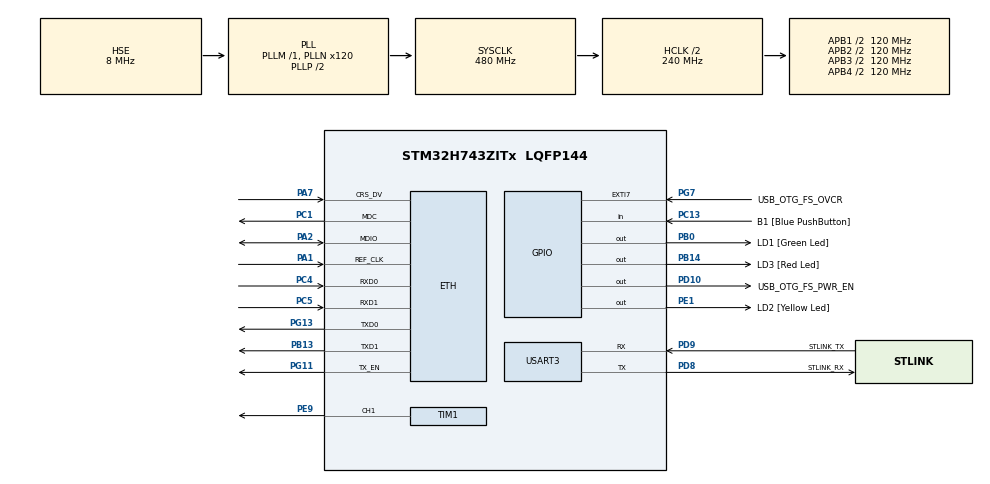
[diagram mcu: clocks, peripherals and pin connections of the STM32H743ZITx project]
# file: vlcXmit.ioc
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CORTEX_M7.AccessPermission_S-Cortex_Memory_Protection_Unit_Region1_Settings_S=MPU_REGION_FULL_ACCESS
CORTEX_M7.AccessPermission_S-Cortex_Memory_Protection_Unit_Region2_Settings_S=MPU_REGION_FULL_ACCESS
CORTEX_M7.AccessPermission_S-Cortex_Memory_Protection_Unit_Region3_Settings_S=MPU_REGION_FULL_ACCESS
CORTEX_M7.BaseAddress_S-Cortex_Memory_Protection_Unit_Region1_Settings_S=0x30020000
CORTEX_M7.BaseAddress_S-Cortex_Memory_Protection_Unit_Region2_Settings_S=0x30040000
CORTEX_M7.BaseAddress_S-Cortex_Memory_Protection_Unit_Region3_Settings_S=0x30000000
CORTEX_M7.CPU_DCache=Enabled
CORTEX_M7.CPU_ICache=Enabled
CORTEX_M7.DisableExec_S-Cortex_Memory_Protection_Unit_Region1_Settings_S=MPU_INSTRUCTION_ACCESS_DISABLE
CORTEX_M7.DisableExec_S-Cortex_Memory_Protection_Unit_Region2_Settings_S=MPU_INSTRUCTION_ACCESS_DISABLE
CORTEX_M7.DisableExec_S-Cortex_Memory_Protection_Unit_Region3_Settings_S=MPU_INSTRUCTION_ACCESS_DISABLE
CORTEX_M7.Enable_S-Cortex_Memory_Protection_Unit_Region1_Settings_S=MPU_REGION_ENABLE
CORTEX_M7.Enable_S-Cortex_Memory_Protection_Unit_Region2_Settings_S=MPU_REGION_ENABLE
CORTEX_M7.Enable_S-Cortex_Memory_Protection_Unit_Region3_Settings_S=MPU_REGION_ENABLE
CORTEX_M7.IsBufferable_S-Cortex_Memory_Protection_Unit_Region2_Settings_S=MPU_ACCESS_BUFFERABLE
CORTEX_M7.IsShareable_S-Cortex_Memory_Protection_Unit_Region2_Settings_S=MPU_ACCESS_SHAREABLE
CORTEX_M7.Size_S-Cortex_Memory_Protection_Unit_Region1_Settings_S=MPU_REGION_SIZE_128KB
CORTEX_M7.Size_S-Cortex_Memory_Protection_Unit_Region2_Settings_S=MPU_REGION_SIZE_512B
CORTEX_M7.Size_S-Cortex_Memory_Protection_Unit_Region3_Settings_S=MPU_REGION_SIZE_128KB
CORTEX_M7.TypeExtField_S-Cortex_Memory_Protection_Unit_Region1_Settings_S=MPU_TEX_LEVEL1
CORTEX_M7.TypeExtField_S-Cortex_Memory_Protection_Unit_Region3_Settings_S=MPU_TEX_LEVEL1
CORTEX_M7.default_mode_Activation=1
Dma.Request0=TIM1_UP
Dma.TIM1_UP.0.Direction=DMA_MEMORY_TO_PERIPH
Dma.TIM1_UP.0.EventEnable=DISABLE
Dma.TIM1_UP.0.FIFOMode=DMA_FIFOMODE_ENABLE
Dma.TIM1_UP.0.FIFOThreshold=DMA_FIFO_THRESHOLD_FULL
Dma.TIM1_UP.0.Instance=DMA1_Stream0
Dma.TIM1_UP.0.MemBurst=DMA_MBURST_SINGLE
Dma.TIM1_UP.0.MemDataAlignment=DMA_MDATAALIGN_HALFWORD
Dma.TIM1_UP.0.MemInc=DMA_MINC_ENABLE
Dma.TIM1_UP.0.Mode=DMA_NORMAL
Dma.TIM1_UP.0.PeriphBurst=DMA_PBURST_SINGLE
Dma.TIM1_UP.0.PeriphDataAlignment=DMA_PDATAALIGN_HALFWORD
Dma.TIM1_UP.0.PeriphInc=DMA_PINC_DISABLE
Dma.TIM1_UP.0.Polarity=HAL_DMAMUX_REQ_GEN_RISING
Dma.TIM1_UP.0.Priority=DMA_PRIORITY_LOW
Dma.TIM1_UP.0.RequestNumber=1
Dma.TIM1_UP.0.SignalID=NONE
Dma.TIM1_UP.0.SyncEnable=DISABLE
Dma.TIM1_UP.0.SyncPolarity=HAL_DMAMUX_SYNC_NO_EVENT
Dma.TIM1_UP.0.SyncRequestNumber=1
Dma.TIM1_UP.0.SyncSignalID=NONE
ETH.ETH_RX_DESC_CNT=4
ETH.ETH_TX_DESC_CNT=4
ETH.MediaInterface=HAL_ETH_RMII_MODE
ETH.RxBuffLen=1536
ETH.RxDescAddress=0x30040000
ETH.TxDescAddress=0x30040100
FREERTOS.BinarySemaphores01=getNextFlit,Dynamic,NULL
FREERTOS.Queues01=newFlitQ,2,8,1,Dynamic,NULL,NULL
FREERTOS.Tasks01=defaultTask,24,512,StartDefaultTask,As weak,NULL,Dynamic,NULL,NULL;vlcXmit_tsk,40,512,vlcXmit,As external,NULL,Dynamic,NULL,NULL
FREERTOS.configCHECK_FOR_STACK_OVERFLOW=1
FREERTOS.configMINIMAL_STACK_SIZE=512
FREERTOS.configTOTAL_HEAP_SIZE=65536
FREERTOS.configUSE_NEWLIB_REENTRANT=1
IWDG1.Prescaler=IWDG_PRESCALER_16
IWDG1.Reload=0x7d0
LWIP.BSP.number=1
LWIP.DEFAULT_THREAD_STACKSIZE=2048
LWIP.LWIP_AUTOIP=0
LWIP.LWIP_DHCP_AUTOIP_COOP=0
LWIP.LWIP_NETIF_STATUS_CALLBACK=0
LWIP.LWIP_RAM_HEAP_POINTER=0x30020000
LWIP.MEM_SIZE=131048
LWIP.TCPIP_THREAD_STACKSIZE=2048
LWIP.TCP_MSS=1460
LWIP.TCP_SND_BUF=5840
LWIP.TCP_SND_QUEUELEN=16
LWIP.Version=v2.1.2_Cube
LWIP0.BSP.STBoard=false
LWIP0.BSP.api=BSP_COMPONENT_DRIVER
LWIP0.BSP.component=LAN8742
LWIP0.BSP.instance=LAN8742
LWIP0.BSP.name=Driver_PHY
LWIP0.BSP.semaphore=S_LAN8742
LWIP0.BSP.solution=LAN8742
Mcu.Family=STM32H7
Mcu.Name=STM32H743ZITx
Mcu.Package=LQFP144
NVIC.DMA1_Stream0_IRQn=true\:5\:0\:false\:false\:true\:true\:false\:true\:true
NVIC.ETH_IRQn=true\:5\:0\:false\:false\:true\:true\:true\:true\:true
NVIC.PriorityGroup=NVIC_PRIORITYGROUP_4
NVIC.TIM6_DAC_IRQn=true\:15\:0\:false\:false\:true\:false\:false\:true\:true
NVIC.TimeBase=TIM6_DAC_IRQn
NVIC.TimeBaseIP=TIM6
PA1.GPIO_Speed=GPIO_SPEED_FREQ_VERY_HIGH
PA1.Mode=RMII
PA1.Signal=ETH_REF_CLK
PA11.Signal=USB_OTG_FS_DM
PA12.Signal=USB_OTG_FS_DP
PA13\ (JTMS/SWDIO).GPIO_Label=JTMS
PA13\ (JTMS/SWDIO).Signal=DEBUG_JTMS-SWDIO
PA14\ (JTCK/SWCLK).GPIO_Label=JTCK
PA14\ (JTCK/SWCLK).Signal=DEBUG_JTCK-SWCLK
PA2.GPIO_Speed=GPIO_SPEED_FREQ_VERY_HIGH
PA2.Mode=RMII
PA2.Signal=ETH_MDIO
PA7.GPIO_Speed=GPIO_SPEED_FREQ_VERY_HIGH
PA7.Mode=RMII
PA7.Signal=ETH_CRS_DV
PA8.Signal=USB_OTG_FS_SOF
PA9.Signal=USB_OTG_FS_VBUS
PB0.GPIO_Label=LD1 [Green Led]
PB0.Signal=GPIO_Output
PB13.GPIO_Speed=GPIO_SPEED_FREQ_VERY_HIGH
PB13.Mode=RMII
PB13.Signal=ETH_TXD1
PB14.GPIO_Label=LD3 [Red Led]
PB14.Signal=GPIO_Output
PC1.GPIO_Speed=GPIO_SPEED_FREQ_VERY_HIGH
PC1.Mode=RMII
PC1.Signal=ETH_MDC
PC13.GPIO_Label=B1 [Blue PushButton]
PC13.Signal=GPIO_Input
PC14-OSC32_IN\ (OSC32_IN).Signal=RCC_OSC32_IN
PC15-OSC32_OUT\ (OSC32_OUT).Signal=RCC_OSC32_OUT
PC4.GPIO_Speed=GPIO_SPEED_FREQ_VERY_HIGH
PC4.Mode=RMII
PC4.Signal=ETH_RXD0
PC5.GPIO_Speed=GPIO_SPEED_FREQ_VERY_HIGH
PC5.Mode=RMII
PC5.Signal=ETH_RXD1
PD10.GPIO_Label=USB_OTG_FS_PWR_EN
PD10.Signal=GPIO_Output
PD8.GPIO_Label=STLINK_RX
PD8.Mode=Asynchronous
PD8.Signal=USART3_TX
PD9.GPIO_Label=STLINK_TX
PD9.Mode=Asynchronous
PD9.Signal=USART3_RX
PE1.GPIO_Label=LD2 [Yellow Led]
PE1.Signal=GPIO_Output
PE9.Signal=S_TIM1_CH1
PG11.GPIO_Speed=GPIO_SPEED_FREQ_VERY_HIGH
PG11.Mode=RMII
PG11.Signal=ETH_TX_EN
PG13.GPIO_Speed=GPIO_SPEED_FREQ_VERY_HIGH
PG13.Mode=RMII
PG13.Signal=ETH_TXD0
PG7.GPIO_Label=USB_OTG_FS_OVCR
PG7.Signal=GPXTI7
PH0-OSC_IN\ (PH0).Mode=HSE-External-Clock-Source
PH0-OSC_IN\ (PH0).Signal=RCC_OSC_IN
PH1-OSC_OUT\ (PH1).Signal=RCC_OSC_OUT
ProjectManager.HeapSize=0x200
ProjectManager.StackSize=0x400
ProjectManager.TargetToolchain=CMake
RCC.ADCFreq_Value=16125000
RCC.APB1Freq_Value=120000000
RCC.APB2Freq_Value=120000000
RCC.APB3Freq_Value=120000000
RCC.APB4Freq_Value=120000000
RCC.CortexFreq_Value=480000000
RCC.D1PPRE=RCC_APB3_DIV2
RCC.D2PPRE1=RCC_APB1_DIV2
RCC.D2PPRE2=RCC_APB2_DIV2
RCC.D3PPRE=RCC_APB4_DIV2
RCC.DIVM1=1
RCC.DIVN1=120
RCC.HCLKFreq_Value=240000000
RCC.HPRE=RCC_HCLK_DIV2
RCC.HSE_VALUE=8000000
RCC.PLLFRACN=0
RCC.PLLSourceVirtual=RCC_PLLSOURCE_HSE
RCC.PWR_Regulator_Voltage_Scale=PWR_REGULATOR_VOLTAGE_SCALE0
RCC.ProductRev=revV
RCC.SYSCLKFreq_VALUE=480000000
RCC.SYSCLKSource=RCC_SYSCLKSOURCE_PLLCLK
RCC.USBFreq_Value=480000000
SH.S_TIM1_CH1.0=TIM1_CH1,PWM Generation1 CH1
TIM1.AutoReloadPreload=TIM_AUTORELOAD_PRELOAD_ENABLE
TIM1.Channel-PWM\ Generation1\ CH1=TIM_CHANNEL_1
TIM1.Period=0xffff
TIM1.Prescaler=23
USART3.VirtualMode-Asynchronous=VM_ASYNC
VP_FREERTOS_VS_CMSIS_V2.Mode=CMSIS_V2
VP_IWDG1_VS_IWDG.Mode=IWDG_Activate
VP_LWIP_VS_Enabled.Mode=Enabled
VP_SYS_VS_tim6.Mode=TIM6
VP_TIM1_VS_ClockSourceINT.Mode=Internal
board=NUCLEO-H743ZI2

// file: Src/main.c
/* USER CODE BEGIN Header */
/*
 Demo code for the VIOLIN VLC project with a photodiode receiver.
 This code is for the transmitter side of the VLC link.

 Copyright (c) 2024 Aristides Efthymiou (efthym@uoi.gr) VLSI Systems and Compute
r Architecture Laboratory (VCAS), Dep. of Computer Science and Engineering, Univ
ersity of Ioannina, Greece

 Permission is hereby granted, free of charge, to any person obtaining a copy of
 this software and associated documentation files (the "Software"), to deal in t
he Software without restriction, including without limitation the rights to use,
 copy, modify, merge, publish, distribute, sublicense, and/or sell copies of the
 Software, and to permit persons to whom the Software is furnished to do so, sub
ject to the following conditions:

 The above copyright notice and this permission notice shall be included in all
copies or substantial portions of the Software.

 THE SOFTWARE IS PROVIDED "AS IS", WITHOUT WARRANTY OF ANY KIND, EXPRESS OR IMPL
IED, INCLUDING BUT NOT LIMITED TO THE WARRANTIES OF MERCHANTABILITY, FITNESS FOR
 A PARTICULAR PURPOSE AND NONINFRINGEMENT. IN NO EVENT SHALL THE AUTHORS OR COPY
RIGHT HOLDERS BE LIABLE FOR ANY CLAIM, DAMAGES OR OTHER LIABILITY, WHETHER IN AN
 ACTION OF CONTRACT, TORT OR OTHERWISE, ARISING FROM, OUT OF OR IN CONNECTION WI
TH THE SOFTWARE OR THE USE OR OTHER DEALINGS IN THE SOFTWARE.

*/
/**
  ******************************************************************************
  * @file           : main.c
  * @brief          : Main program body
  ******************************************************************************
  * @attention
  *
  * Copyright (c) 2024 STMicroelectronics.
  * All rights reserved.
  *
  ******************************************************************************
  */
/* USER CODE END Header */
#include "main.h"
#include "cmsis_os.h"

IWDG_HandleTypeDef hiwdg1;

TIM_HandleTypeDef htim1;
DMA_HandleTypeDef hdma_tim1_up;

UART_HandleTypeDef huart3;

/* Definitions for defaultTask */
osThreadId_t defaultTaskHandle;
const osThreadAttr_t defaultTask_attributes = {
  .name = "defaultTask",
  .stack_size = 512 * 4,
  .priority = (osPriority_t) osPriorityNormal,
};
/* Definitions for vlcXmit_tsk */
osThreadId_t vlcXmit_tskHandle;
const osThreadAttr_t vlcXmit_tsk_attributes = {
  .name = "vlcXmit_tsk",
  .stack_size = 512 * 4,
  .priority = (osPriority_t) osPriorityHigh,
};
/* Definitions for newFlitQ */
osMessageQueueId_t newFlitQHandle;
const osMessageQueueAttr_t newFlitQ_attributes = {
  .name = "newFlitQ"
};
/* Definitions for getNextFlit */
osSemaphoreId_t getNextFlitHandle;
const osSemaphoreAttr_t getNextFlit_attributes = {
  .name = "getNextFlit"
};
/* USER CODE BEGIN PV */

// Timer data for VLC signal generation.
// Double buffering: transmiting on one while modulating the incoming date into the other
__IO uint16_t  timWaves0[MAX_PULSES] __attribute__((section(".WavesSection0")));
__IO uint16_t  timWaves1[MAX_PULSES] __attribute__((section(".WavesSection1")));

volatile uint16_t *timBufferPtr[2];  // pointers to the wave(form) buffers

// Buffers for the "duplicate" mark in the waveforms
uint16_t altTimWaves0[6];
uint16_t altTimWaves1[6];
uint16_t *altTimBufferPtr[2];  // pointers to the alt wave(form) buffers

uint16_t *size2TimBuffPtr[2];  // points to the pulse in timBuffer where we sneak in the above pulses

// TDP waves as multiples of halfPeriod
const uint16_t tdp_periods[9] = {3, 5, 3, 3, 2, 3, 6, 2, 3};
const uint16_t tdp_pulses[9]  = {1, 1, 2, 1, 1, 2, 4, 1, 2};

const uint16_t dutyCycleReduction = 0;  // reduces the high pulse by this amount

// APB2 is where TIM1 lives. It is run at 240MHz currently
/* --------------------------------------------------------
   TIM1 is 16bit, so max number in any counter is 65536.
   halfPeriod is the base variable and the ARR counter can get up to 4*halfPeriod,
   so the maximum value halfPeriod can get is 16383, minimum is obviously 1.
   If halfPeriod of 1 corresponds to a 10MHz (manchester encodec) signal, the max value should give us ~610.4Hz
   So if I set the prescaler to 23 (+1 is the actual value), I should get 10MHz with halfPeriod (CCR) = 1 and ARR = 2
   Note: tim1.Init.ClockDivision is not related to the timer's clock.
   -------------------------------------------------------- */
// With max prescaler (0xffff) the clock is at ~3968 Hz , so with a min pulse of 1984, I should have around 1Hz for back2back short pulses and 0.5Hz for long ones.
// Counter value for minimum pulse (Manchester short pulse = halfPeriod)
// These were with prescaler 23 (+1) -- i.e. 10MHz at the counter
// WARNING:  Lowest value used in counters is halfPeriod / 5, so this is a limit!  This is for 10% (or 90%) dimming.
const uint16_t halfPeriod = 5;
//uint16_t halfPeriod = 10;   // this is 1uS
//uint16_t halfPeriod = 100;   // this is 10uS measure on scope, gives 130 (sometimes 132) samples per symbol at the receiver's ADC
//uint16_t halfPeriod = 104;   // This gives 136 samples per symbol.
//uint16_t halfPeriod = 106;   // This gives 138 samples per symbol.
//uint16_t halfPeriod = 107;   // This gives 140 samples per symbol.
//uint16_t halfPeriod = 99;   // This gives 128 or 130 samples per symbol.
//uint16_t halfPeriod = 101;   // This gives 132 samples per symbol.
//uint16_t halfPeriod = 1200;   // slowdown for human eye - testing

uint16_t macDim = 500;  // dimming factor 0-1000. Fixed here. Normaly set by VLC MAC layer

extern const int uxTopUsedPriority; // for OpenOCD's threads awareness
/* USER CODE END PV */

void SystemClock_Config(void);
static void MPU_Config(void);
static void MX_GPIO_Init(void);
static void MX_DMA_Init(void);
static void MX_USART3_UART_Init(void);
static void MX_TIM1_Init(void);
static void MX_IWDG1_Init(void);
void StartDefaultTask(void *argument);
extern void vlcXmit(void *argument);

/* USER CODE BEGIN PFP */
extern void createModTable(uint16_t macDim, uint16_t halfPeriod);

/* USER CODE END PFP */

int main(void)
{

  /* MPU Configuration--------------------------------------------------------*/
  MPU_Config();
/* Enable the CPU Cache */

  /* Enable I-Cache---------------------------------------------------------*/
  SCB_EnableICache();

  /* Enable D-Cache---------------------------------------------------------*/
  SCB_EnableDCache();

  /* MCU Configuration--------------------------------------------------------*/

  /* Reset of all peripherals, Initializes the Flash interface and the Systick. */
  HAL_Init();

  /* Configure the system clock */
  SystemClock_Config();

  /* Initialize all configured peripherals */
  MX_GPIO_Init();
  MX_DMA_Init();
  MX_USART3_UART_Init();
  MX_TIM1_Init();
  /* USER CODE BEGIN 2 */

  // Initialize the pointers for the waveform (timer output pwm data)
  timBufferPtr[0] = &timWaves0[0];
  timBufferPtr[1] = &timWaves1[0];
  altTimBufferPtr[0] = &altTimWaves0[0];
  altTimBufferPtr[1] = &altTimWaves1[0];

  // Generate the preample for the packets
  // including  the TDP bits (broadcast ) 0x21A5. CAUTION: 15 bits x 4 (=60)
  for (uint8_t curRcvBuf = 0; curRcvBuf < 2; curRcvBuf++) {  // For each of the two waves buffers
    uint16_t *timBuffer = timBufferPtr[curRcvBuf];

    *timBuffer++ = 2*halfPeriod - 1;  // Added to fix duty cycle. Not tested for non 50% duty cycle
    *timBuffer++ = 31; // This causes 32 waves. More than the minimum the receiver expects
                       // because the first pulse is usually chewed up by the amplifier
    *timBuffer++ = halfPeriod - dutyCycleReduction;
    // Add the TDP, ~TDP waves
    for (uint8_t i = 0; i < 9; i++) {
      *timBuffer++ = tdp_periods[i] * halfPeriod - 1;  // period
      *timBuffer++ = 0; // No repetition
      *timBuffer++ = tdp_pulses[i] * (halfPeriod - dutyCycleReduction);   // high pulse duration
    }
  }

  // (one off) Create the modulation lookup table
  createModTable(macDim, halfPeriod);

  /* USER CODE END 2 */

  /* Init scheduler */
  osKernelInitialize();

  /* Create the semaphores(s) */
  /* creation of getNextFlit */
  getNextFlitHandle = osSemaphoreNew(1, 0, &getNextFlit_attributes);

  /* Create the queue(s) */
  /* creation of newFlitQ */
  newFlitQHandle = osMessageQueueNew (2, sizeof(FlitInfo_t), &newFlitQ_attributes);

  /* USER CODE BEGIN RTOS_QUEUES */
  // --------------------------------------------------------------------------------
  // AE: if you regenerate the code, do not forget to modify the following line
  // newFlitQHandle = osMessageQueueNew (2, sizeof(FlitInfo_t), &newFlitQ_attributes);
  // --------------------------------------------------------------------------------
  /* add queues, ... */
  /* USER CODE END RTOS_QUEUES */

  /* Create the thread(s) */
  /* creation of defaultTask */
  defaultTaskHandle = osThreadNew(StartDefaultTask, NULL, &defaultTask_attributes);

  /* creation of vlcXmit_tsk */
  vlcXmit_tskHandle = osThreadNew(vlcXmit, NULL, &vlcXmit_tsk_attributes);

  /* Start scheduler */
  osKernelStart();

  /* We should never get here as control is now taken by the scheduler */
  /* Infinite loop */
  /* USER CODE BEGIN WHILE */
  int i = 0;  // dummy to keep uxTopUsedPriority alive
  while (1) {
    i += uxTopUsedPriority;
    if (i > 100)
      osDelay(1);
    /* USER CODE END WHILE */

  }
}

void SystemClock_Config(void)
{
  RCC_OscInitTypeDef RCC_OscInitStruct = {0};
  RCC_ClkInitTypeDef RCC_ClkInitStruct = {0};

  /** Supply configuration update enable
  */
  HAL_PWREx_ConfigSupply(PWR_LDO_SUPPLY);

  /** Configure the main internal regulator output voltage
  */
  __HAL_PWR_VOLTAGESCALING_CONFIG(PWR_REGULATOR_VOLTAGE_SCALE1);

  while(!__HAL_PWR_GET_FLAG(PWR_FLAG_VOSRDY)) {}

  __HAL_RCC_SYSCFG_CLK_ENABLE();
  __HAL_PWR_VOLTAGESCALING_CONFIG(PWR_REGULATOR_VOLTAGE_SCALE0);

  while(!__HAL_PWR_GET_FLAG(PWR_FLAG_VOSRDY)) {}

  /** Initializes the RCC Oscillators according to the specified parameters
  * in the RCC_OscInitTypeDef structure.
  */
  RCC_OscInitStruct.OscillatorType = RCC_OSCILLATORTYPE_LSI|RCC_OSCILLATORTYPE_HSE;
  RCC_OscInitStruct.HSEState = RCC_HSE_BYPASS;
  RCC_OscInitStruct.LSIState = RCC_LSI_ON;
  RCC_OscInitStruct.PLL.PLLState = RCC_PLL_ON;
  RCC_OscInitStruct.PLL.PLLSource = RCC_PLLSOURCE_HSE;
  RCC_OscInitStruct.PLL.PLLM = 1;
  RCC_OscInitStruct.PLL.PLLN = 120;
  RCC_OscInitStruct.PLL.PLLP = 2;
  RCC_OscInitStruct.PLL.PLLQ = 2;
  RCC_OscInitStruct.PLL.PLLR = 2;
  RCC_OscInitStruct.PLL.PLLRGE = RCC_PLL1VCIRANGE_3;
  RCC_OscInitStruct.PLL.PLLVCOSEL = RCC_PLL1VCOWIDE;
  RCC_OscInitStruct.PLL.PLLFRACN = 0;
  if (HAL_RCC_OscConfig(&RCC_OscInitStruct) != HAL_OK)
  {
    Error_Handler();
  }

  /** Initializes the CPU, AHB and APB buses clocks
  */
  RCC_ClkInitStruct.ClockType = RCC_CLOCKTYPE_HCLK|RCC_CLOCKTYPE_SYSCLK
                              |RCC_CLOCKTYPE_PCLK1|RCC_CLOCKTYPE_PCLK2
                              |RCC_CLOCKTYPE_D3PCLK1|RCC_CLOCKTYPE_D1PCLK1;
  RCC_ClkInitStruct.SYSCLKSource = RCC_SYSCLKSOURCE_PLLCLK;
  RCC_ClkInitStruct.SYSCLKDivider = RCC_SYSCLK_DIV1;
  RCC_ClkInitStruct.AHBCLKDivider = RCC_HCLK_DIV2;
  RCC_ClkInitStruct.APB3CLKDivider = RCC_APB3_DIV2;
  RCC_ClkInitStruct.APB1CLKDivider = RCC_APB1_DIV2;
  RCC_ClkInitStruct.APB2CLKDivider = RCC_APB2_DIV2;
  RCC_ClkInitStruct.APB4CLKDivider = RCC_APB4_DIV2;

  if (HAL_RCC_ClockConfig(&RCC_ClkInitStruct, FLASH_LATENCY_4) != HAL_OK)
  {
    Error_Handler();
  }
}

static void MX_IWDG1_Init(void)
{

  hiwdg1.Instance = IWDG1;
  hiwdg1.Init.Prescaler = IWDG_PRESCALER_16;
  hiwdg1.Init.Window = 4095;
  hiwdg1.Init.Reload = 0x7d0;
  if (HAL_IWDG_Init(&hiwdg1) != HAL_OK)
  {
    Error_Handler();
  }

}

static void MX_TIM1_Init(void)
{

  TIM_ClockConfigTypeDef sClockSourceConfig = {0};
  TIM_MasterConfigTypeDef sMasterConfig = {0};
  TIM_OC_InitTypeDef sConfigOC = {0};
  TIM_BreakDeadTimeConfigTypeDef sBreakDeadTimeConfig = {0};

  /* USER CODE BEGIN TIM1_Init 1 */
  // At max speed this timer works at 240MHz.
  // A +1 is added to the Prescaler value below and divides this clock
  //  to a frequency 240 / (Prescaler+1)
  // I use a halfPeriod "main" variable for the half of the "optical" clock rate at 50% duty cycle
  //   (so I keep it a multiple of 5, so I can get down to 10% duty cycle resolution).
  // The counter starts at 0 and goes up to 2*halfPeriod, ***inclusive***
  // Thus the minimum period is 240 / (Prescaler+1) / (2*halfPeriod + 1)

  //htim1.Init.Prescaler = 2; // The counts freqency is 240/3=80 MHz
  // With halfPeriod = 5, the signal is at 80/11 = 7.27MHz (137ns period)
  //  Direct nucleo connection works but I suspect synchronization problems above 208 bytes ....

  //htim1.Init.Prescaler = 3; // The counts freqency is 240/4=60 MHz
  //htim1.Init.Prescaler = 4; // The counts freqency is 240/5=48 MHz
  //htim1.Init.Prescaler = 5;  // 240/6 = 40  MHz
  //htim1.Init.Prescaler = 6;  // 240/7 = 34.2  MHz
  //htim1.Init.Prescaler = 8;
  htim1.Init.Prescaler = 9; // The counts freqency is 240/10=24 MHz

  //htim1.Init.Prescaler = 11;  // This gives a 20MHz counter clock cycle
  // With halfPeriod = 5, the signal is at 20/11 = 1.8MHz (550ns period)
  //  Direct nucle connection works up to 1248 byte filts, set by the "waveform" memory limit (64KiB)

  //htim1.Init.Prescaler = 23;  // This gives a 10MHz counter clock cycle 240MHz / (23+1)
                              // with halfPeriod = 5, and 50% duty cycle, the long pulse is 1us and the short 0.5us
                              //  these correspond to 240 in the receiver counter, 120 resp.
  //htim1.Init.Prescaler = 29;  // This gives a 800KHz
  //htim1.Init.Prescaler = 49;   // 480KHz
  //htim1.Init.Prescaler = 99;   // 240KHz
  //htim1.Init.Prescaler = 239;
  //htim1.Init.Prescaler = 0xFFFF;  // Slow version for my eyes ....
  /* USER CODE END TIM1_Init 1 */
  htim1.Instance = TIM1;
  htim1.Init.Prescaler = 9;
  htim1.Init.CounterMode = TIM_COUNTERMODE_UP;
  htim1.Init.Period = 0xffff;
  htim1.Init.ClockDivision = TIM_CLOCKDIVISION_DIV1;
  htim1.Init.RepetitionCounter = 0;
  htim1.Init.AutoReloadPreload = TIM_AUTORELOAD_PRELOAD_ENABLE;
  if (HAL_TIM_Base_Init(&htim1) != HAL_OK)
  {
    Error_Handler();
  }
  sClockSourceConfig.ClockSource = TIM_CLOCKSOURCE_INTERNAL;
  if (HAL_TIM_ConfigClockSource(&htim1, &sClockSourceConfig) != HAL_OK)
  {
    Error_Handler();
  }
  if (HAL_TIM_PWM_Init(&htim1) != HAL_OK)
  {
    Error_Handler();
  }
  sMasterConfig.MasterOutputTrigger = TIM_TRGO_RESET;
  sMasterConfig.MasterOutputTrigger2 = TIM_TRGO2_RESET;
  sMasterConfig.MasterSlaveMode = TIM_MASTERSLAVEMODE_DISABLE;
  if (HAL_TIMEx_MasterConfigSynchronization(&htim1, &sMasterConfig) != HAL_OK)
  {
    Error_Handler();
  }
  sConfigOC.OCMode = TIM_OCMODE_PWM1;
  sConfigOC.Pulse = 0;
  sConfigOC.OCPolarity = TIM_OCPOLARITY_HIGH;
  sConfigOC.OCNPolarity = TIM_OCNPOLARITY_HIGH;
  sConfigOC.OCFastMode = TIM_OCFAST_DISABLE;
  sConfigOC.OCIdleState = TIM_OCIDLESTATE_RESET;
  sConfigOC.OCNIdleState = TIM_OCNIDLESTATE_RESET;
  if (HAL_TIM_PWM_ConfigChannel(&htim1, &sConfigOC, TIM_CHANNEL_1) != HAL_OK)
  {
    Error_Handler();
  }
  sBreakDeadTimeConfig.OffStateRunMode = TIM_OSSR_DISABLE;
  sBreakDeadTimeConfig.OffStateIDLEMode = TIM_OSSI_DISABLE;
  sBreakDeadTimeConfig.LockLevel = TIM_LOCKLEVEL_OFF;
  sBreakDeadTimeConfig.DeadTime = 0;
  sBreakDeadTimeConfig.BreakState = TIM_BREAK_DISABLE;
  sBreakDeadTimeConfig.BreakPolarity = TIM_BREAKPOLARITY_HIGH;
  sBreakDeadTimeConfig.BreakFilter = 0;
  sBreakDeadTimeConfig.Break2State = TIM_BREAK2_DISABLE;
  sBreakDeadTimeConfig.Break2Polarity = TIM_BREAK2POLARITY_HIGH;
  sBreakDeadTimeConfig.Break2Filter = 0;
  sBreakDeadTimeConfig.AutomaticOutput = TIM_AUTOMATICOUTPUT_DISABLE;
  if (HAL_TIMEx_ConfigBreakDeadTime(&htim1, &sBreakDeadTimeConfig) != HAL_OK)
  {
    Error_Handler();
  }
  HAL_TIM_MspPostInit(&htim1);

}

static void MX_USART3_UART_Init(void)
{

  huart3.Instance = USART3;
  huart3.Init.BaudRate = 115200;
  huart3.Init.WordLength = UART_WORDLENGTH_8B;
  huart3.Init.StopBits = UART_STOPBITS_1;
  huart3.Init.Parity = UART_PARITY_NONE;
  huart3.Init.Mode = UART_MODE_TX_RX;
  huart3.Init.HwFlowCtl = UART_HWCONTROL_NONE;
  huart3.Init.OverSampling = UART_OVERSAMPLING_16;
  huart3.Init.OneBitSampling = UART_ONE_BIT_SAMPLE_DISABLE;
  huart3.Init.ClockPrescaler = UART_PRESCALER_DIV1;
  huart3.AdvancedInit.AdvFeatureInit = UART_ADVFEATURE_NO_INIT;
  if (HAL_UART_Init(&huart3) != HAL_OK)
  {
    Error_Handler();
  }
  if (HAL_UARTEx_SetTxFifoThreshold(&huart3, UART_TXFIFO_THRESHOLD_1_8) != HAL_OK)
  {
    Error_Handler();
  }
  if (HAL_UARTEx_SetRxFifoThreshold(&huart3, UART_RXFIFO_THRESHOLD_1_8) != HAL_OK)
  {
    Error_Handler();
  }
  if (HAL_UARTEx_DisableFifoMode(&huart3) != HAL_OK)
  {
    Error_Handler();
  }

}

static void MX_DMA_Init(void)
{

  /* DMA controller clock enable */
  __HAL_RCC_DMA1_CLK_ENABLE();

  /* DMA interrupt init */
  /* DMA1_Stream0_IRQn interrupt configuration */
  HAL_NVIC_SetPriority(DMA1_Stream0_IRQn, 5, 0);
  HAL_NVIC_EnableIRQ(DMA1_Stream0_IRQn);

}

static void MX_GPIO_Init(void)
{
  GPIO_InitTypeDef GPIO_InitStruct = {0};

  /* GPIO Ports Clock Enable */
  __HAL_RCC_GPIOC_CLK_ENABLE();
  __HAL_RCC_GPIOH_CLK_ENABLE();
  __HAL_RCC_GPIOA_CLK_ENABLE();
  __HAL_RCC_GPIOB_CLK_ENABLE();
  __HAL_RCC_GPIOE_CLK_ENABLE();
  __HAL_RCC_GPIOD_CLK_ENABLE();
  __HAL_RCC_GPIOG_CLK_ENABLE();

  /*Configure GPIO pin Output Level */
  HAL_GPIO_WritePin(GPIOB, LD1_Pin|LD3_Pin, GPIO_PIN_RESET);

  /*Configure GPIO pin Output Level */
  HAL_GPIO_WritePin(USB_OTG_FS_PWR_EN_GPIO_Port, USB_OTG_FS_PWR_EN_Pin, GPIO_PIN_RESET);

  /*Configure GPIO pin Output Level */
  HAL_GPIO_WritePin(LD2_GPIO_Port, LD2_Pin, GPIO_PIN_RESET);

  /*Configure GPIO pin : B1_Pin */
  GPIO_InitStruct.Pin = B1_Pin;
  GPIO_InitStruct.Mode = GPIO_MODE_INPUT;
  GPIO_InitStruct.Pull = GPIO_NOPULL;
  HAL_GPIO_Init(B1_GPIO_Port, &GPIO_InitStruct);

  /*Configure GPIO pins : LD1_Pin LD3_Pin */
  GPIO_InitStruct.Pin = LD1_Pin|LD3_Pin;
  GPIO_InitStruct.Mode = GPIO_MODE_OUTPUT_PP;
  GPIO_InitStruct.Pull = GPIO_NOPULL;
  GPIO_InitStruct.Speed = GPIO_SPEED_FREQ_LOW;
  HAL_GPIO_Init(GPIOB, &GPIO_InitStruct);

  /*Configure GPIO pin : USB_OTG_FS_PWR_EN_Pin */
  GPIO_InitStruct.Pin = USB_OTG_FS_PWR_EN_Pin;
  GPIO_InitStruct.Mode = GPIO_MODE_OUTPUT_PP;
  GPIO_InitStruct.Pull = GPIO_NOPULL;
  GPIO_InitStruct.Speed = GPIO_SPEED_FREQ_LOW;
  HAL_GPIO_Init(USB_OTG_FS_PWR_EN_GPIO_Port, &GPIO_InitStruct);

  /*Configure GPIO pin : USB_OTG_FS_OVCR_Pin */
  GPIO_InitStruct.Pin = USB_OTG_FS_OVCR_Pin;
  GPIO_InitStruct.Mode = GPIO_MODE_IT_RISING;
  GPIO_InitStruct.Pull = GPIO_NOPULL;
  HAL_GPIO_Init(USB_OTG_FS_OVCR_GPIO_Port, &GPIO_InitStruct);

  /*Configure GPIO pins : PA8 PA11 PA12 */
  GPIO_InitStruct.Pin = GPIO_PIN_8|GPIO_PIN_11|GPIO_PIN_12;
  GPIO_InitStruct.Mode = GPIO_MODE_AF_PP;
  GPIO_InitStruct.Pull = GPIO_NOPULL;
  GPIO_InitStruct.Speed = GPIO_SPEED_FREQ_LOW;
  GPIO_InitStruct.Alternate = GPIO_AF10_OTG1_FS;
  HAL_GPIO_Init(GPIOA, &GPIO_InitStruct);

  /*Configure GPIO pin : LD2_Pin */
  GPIO_InitStruct.Pin = LD2_Pin;
  GPIO_InitStruct.Mode = GPIO_MODE_OUTPUT_PP;
  GPIO_InitStruct.Pull = GPIO_NOPULL;
  GPIO_InitStruct.Speed = GPIO_SPEED_FREQ_LOW;
  HAL_GPIO_Init(LD2_GPIO_Port, &GPIO_InitStruct);

}

__weak void StartDefaultTask(void *argument)
{
  /* init code for LWIP */
  MX_LWIP_Init();
  /* USER CODE BEGIN 5 */
  for (;;)
    osDelay(1000);

  /* USER CODE END 5 */
}

/* MPU Configuration */

void MPU_Config(void)
{
  MPU_Region_InitTypeDef MPU_InitStruct = {0};

  /* Disables the MPU */
  HAL_MPU_Disable();

  /** Initializes and configures the Region and the memory to be protected
  */
  MPU_InitStruct.Enable = MPU_REGION_ENABLE;
  MPU_InitStruct.Number = MPU_REGION_NUMBER0;
  MPU_InitStruct.BaseAddress = 0x0;
  MPU_InitStruct.Size = MPU_REGION_SIZE_4GB;
  MPU_InitStruct.SubRegionDisable = 0x87;
  MPU_InitStruct.TypeExtField = MPU_TEX_LEVEL0;
  MPU_InitStruct.AccessPermission = MPU_REGION_NO_ACCESS;
  MPU_InitStruct.DisableExec = MPU_INSTRUCTION_ACCESS_DISABLE;
  MPU_InitStruct.IsShareable = MPU_ACCESS_SHAREABLE;
  MPU_InitStruct.IsCacheable = MPU_ACCESS_NOT_CACHEABLE;
  MPU_InitStruct.IsBufferable = MPU_ACCESS_NOT_BUFFERABLE;

  HAL_MPU_ConfigRegion(&MPU_InitStruct);

  /** Initializes and configures the Region and the memory to be protected
  */
  MPU_InitStruct.Number = MPU_REGION_NUMBER1;
  MPU_InitStruct.BaseAddress = 0x30020000;
  MPU_InitStruct.Size = MPU_REGION_SIZE_128KB;
  MPU_InitStruct.SubRegionDisable = 0x0;
  MPU_InitStruct.TypeExtField = MPU_TEX_LEVEL1;
  MPU_InitStruct.AccessPermission = MPU_REGION_FULL_ACCESS;
  MPU_InitStruct.IsShareable = MPU_ACCESS_NOT_SHAREABLE;

  HAL_MPU_ConfigRegion(&MPU_InitStruct);

  /** Initializes and configures the Region and the memory to be protected
  */
  MPU_InitStruct.Number = MPU_REGION_NUMBER2;
  MPU_InitStruct.BaseAddress = 0x30040000;
  MPU_InitStruct.Size = MPU_REGION_SIZE_512B;
  MPU_InitStruct.TypeExtField = MPU_TEX_LEVEL0;
  MPU_InitStruct.IsShareable = MPU_ACCESS_SHAREABLE;
  MPU_InitStruct.IsBufferable = MPU_ACCESS_BUFFERABLE;

  HAL_MPU_ConfigRegion(&MPU_InitStruct);

  /** Initializes and configures the Region and the memory to be protected
  */
  MPU_InitStruct.Number = MPU_REGION_NUMBER3;
  MPU_InitStruct.BaseAddress = 0x30000000;
  MPU_InitStruct.Size = MPU_REGION_SIZE_128KB;
  MPU_InitStruct.TypeExtField = MPU_TEX_LEVEL1;
  MPU_InitStruct.IsShareable = MPU_ACCESS_NOT_SHAREABLE;
  MPU_InitStruct.IsBufferable = MPU_ACCESS_NOT_BUFFERABLE;

  HAL_MPU_ConfigRegion(&MPU_InitStruct);
  /* Enables the MPU */
  HAL_MPU_Enable(MPU_PRIVILEGED_DEFAULT);

}

void HAL_TIM_PeriodElapsedCallback(TIM_HandleTypeDef *htim)
{
  if (htim->Instance == TIM6) {
    HAL_IncTick();
  }
  /* USER CODE BEGIN Callback 1 */
  else if (htim->Instance == TIM1) {
    osThreadFlagsSet(vlcXmit_tskHandle, TIMER_COMPLETE_FLAG);
  }
  /* USER CODE END Callback 1 */
}

void Error_Handler(void)
{
  /* USER CODE BEGIN Error_Handler_Debug */
  /* User can add his own implementation to report the HAL error return state */
  HAL_GPIO_WritePin(LD3_GPIO_Port, LD3_Pin, GPIO_PIN_SET);
  __disable_irq();
  while (1)
  {
  }
  /* USER CODE END Error_Handler_Debug */
}
